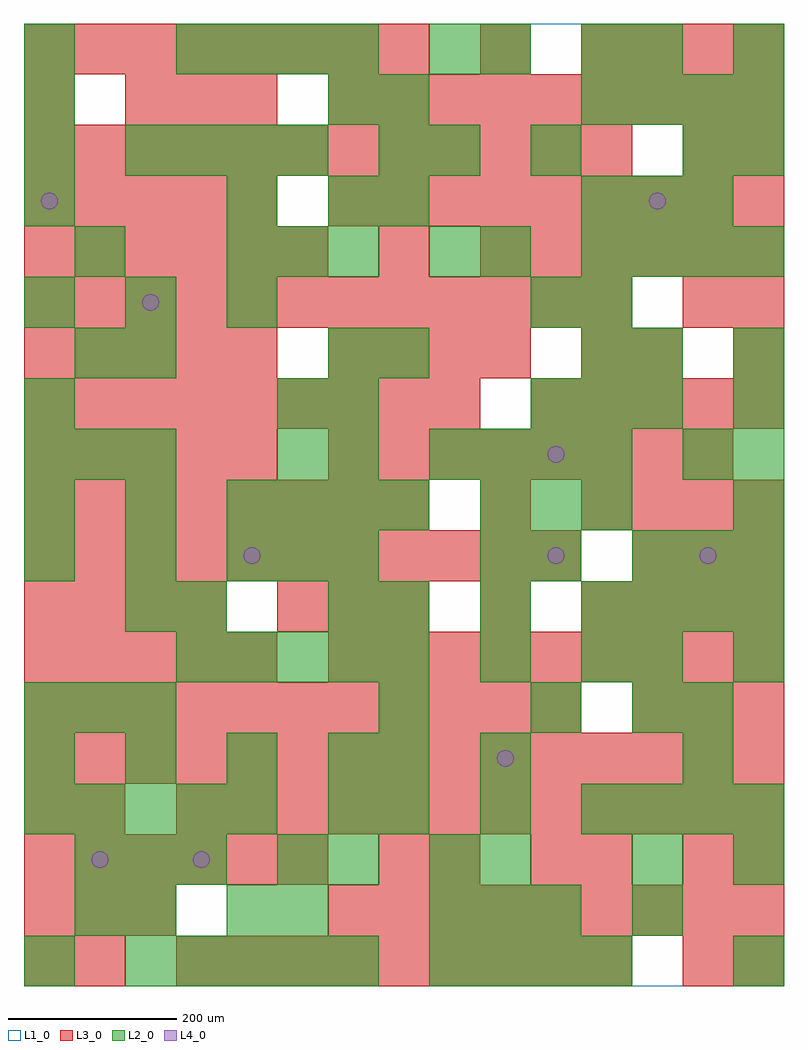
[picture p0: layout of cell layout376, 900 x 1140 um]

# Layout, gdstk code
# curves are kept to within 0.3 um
import gdstk
lib = gdstk.Library(unit=1e-6, precision=1e-09)
def R(c, l, rs):  # rectangles x0, y0, x1, y1
    for r in rs: c.add(gdstk.rectangle(r[:2], r[2:], *l))
def A(c, l, x, y, w, h, nx, ny, dx, dy):  # array of equal rectangles
    R(c, l, [(x+i*dx, y+j*dy, x+i*dx+w, y+j*dy+h) for i in range(nx) for j in range(ny)])
def P(c, l, *ps):  # polygons
    for p in ps: c.add(gdstk.Polygon(p, *l))
L1_0 = (1, 0)
L2_0 = (2, 0)
L3_0 = (3, 0)
L4_0 = (4, 0)

layout376 = lib.new_cell('layout376')
R(layout376, L1_0, [(0,0,900,1140)])
A(layout376, L2_0, 120, 0, 60, 60, 5, 1, 60, 0)
A(layout376, L2_0, 480, 0, 60, 60, 4, 2, 60, 600)
A(layout376, L2_0, 480, 60, 60, 60, 3, 1, 60, 0)
A(layout376, L2_0, 60, 120, 60, 60, 3, 1, 60, 0)
A(layout376, L2_0, 540, 120, 60, 60, 1, 4, 0, 120)
A(layout376, L2_0, 0, 180, 60, 60, 5, 1, 60, 0)
A(layout376, L2_0, 420, 180, 60, 60, 3, 2, 120, 240)
A(layout376, L2_0, 720, 180, 60, 60, 3, 2, 60, 240)
A(layout376, L2_0, 0, 240, 60, 60, 4, 1, 120, 0)
A(layout376, L2_0, 0, 300, 60, 60, 3, 2, 60, 300)
A(layout376, L2_0, 180, 360, 60, 60, 5, 1, 60, 0)
A(layout376, L2_0, 720, 360, 60, 60, 1, 3, 0, 360)
A(layout376, L2_0, 0, 480, 60, 60, 3, 2, 120, 60)
A(layout376, L2_0, 720, 480, 60, 60, 3, 1, 60, 0)
A(layout376, L2_0, 300, 540, 60, 60, 3, 1, 60, 0)
A(layout376, L2_0, 540, 540, 60, 60, 3, 1, 60, 0)
A(layout376, L2_0, 840, 540, 60, 60, 1, 4, 0, 60)
A(layout376, L2_0, 360, 600, 60, 60, 1, 3, 0, 60)
A(layout376, L2_0, 600, 660, 60, 60, 3, 1, 60, 0)
A(layout376, L2_0, 0, 780, 60, 60, 3, 1, 120, 0)
A(layout376, L2_0, 240, 840, 60, 60, 3, 1, 60, 0)
A(layout376, L2_0, 480, 840, 60, 60, 1, 3, 0, 120)
A(layout376, L2_0, 660, 840, 60, 60, 4, 2, 60, 180)
A(layout376, L2_0, 0, 900, 60, 60, 1, 4, 0, 60)
A(layout376, L2_0, 420, 900, 60, 60, 1, 3, 0, 60)
A(layout376, L2_0, 660, 900, 60, 60, 3, 1, 60, 0)
A(layout376, L2_0, 120, 960, 60, 60, 4, 1, 60, 0)
A(layout376, L2_0, 180, 1080, 60, 60, 4, 1, 60, 0)
R(layout376, L2_0, [(0,0,60,60), (840,0,900,60), (60,60,120,120), (120,60,180,120), (240,60,300,120), (300,60,360,120), (720,60,780,120), (300,120,360,180), (360,120,420,180), (480,120,540,180), (720,120,780,180), (840,120,900,180), (360,180,420,240), (420,240,480,300), (780,240,840,300), (420,300,480,360), (600,300,660,360), (720,300,780,360), (780,300,840,360), (660,360,720,420), (840,360,900,420), (120,420,180,480), (180,420,240,480), (360,420,420,480), (300,480,360,540), (360,480,420,540), (600,480,660,540), (300,600,360,660), (780,600,840,660), (0,660,60,720), (300,660,360,720), (60,720,120,780), (120,720,180,780), (420,720,480,780), (660,720,720,780), (600,780,660,840), (660,780,720,840), (60,840,120,900), (540,840,600,900), (240,900,300,960), (360,900,420,960), (600,960,660,1020), (780,960,840,1020), (840,960,900,1020), (360,1020,420,1080), (540,1080,600,1140), (660,1080,720,1140), (840,1080,900,1140)])
A(layout376, L3_0, 180, 0, 60, 60, 9, 1, 60, 0)
A(layout376, L3_0, 0, 60, 60, 60, 3, 1, 60, 0)
A(layout376, L3_0, 360, 60, 60, 60, 9, 2, 60, 300)
A(layout376, L3_0, 0, 120, 60, 60, 6, 2, 60, 720)
A(layout376, L3_0, 180, 180, 60, 60, 12, 1, 60, 0)
A(layout376, L3_0, 0, 240, 60, 60, 15, 1, 60, 0)
A(layout376, L3_0, 0, 300, 60, 60, 11, 2, 60, 180)
A(layout376, L3_0, 720, 300, 60, 60, 3, 2, 60, 180)
A(layout376, L3_0, 0, 360, 60, 60, 5, 2, 60, 240)
A(layout376, L3_0, 0, 420, 60, 60, 4, 1, 60, 0)
A(layout376, L3_0, 300, 420, 60, 60, 3, 1, 60, 0)
A(layout376, L3_0, 660, 420, 60, 60, 4, 2, 60, 120)
A(layout376, L3_0, 0, 540, 60, 60, 8, 2, 60, 540)
A(layout376, L3_0, 360, 600, 60, 60, 8, 1, 60, 0)
A(layout376, L3_0, 0, 660, 60, 60, 9, 1, 60, 0)
A(layout376, L3_0, 600, 660, 60, 60, 5, 1, 60, 0)
A(layout376, L3_0, 0, 720, 60, 60, 5, 2, 60, 180)
A(layout376, L3_0, 360, 720, 60, 60, 4, 1, 60, 0)
A(layout376, L3_0, 0, 780, 60, 60, 12, 2, 60, 180)
A(layout376, L3_0, 540, 840, 60, 60, 6, 1, 60, 0)
A(layout376, L3_0, 360, 900, 60, 60, 9, 2, 60, 120)
A(layout376, L3_0, 120, 1020, 60, 60, 3, 1, 60, 0)
A(layout376, L3_0, 660, 1080, 60, 60, 4, 1, 60, 0)
R(layout376, L3_0, [(0,0,60,60), (60,0,120,60), (780,0,840,60), (840,0,900,60), (420,120,480,180), (480,120,540,180), (600,120,660,180), (660,120,720,180), (780,120,840,180), (840,120,900,180), (0,180,60,240), (60,180,120,240), (540,420,600,480), (540,540,600,600), (660,720,720,780), (720,720,780,780), (840,720,900,780), (780,780,840,840), (840,780,900,840), (420,840,480,900), (780,960,840,1020), (840,960,900,1020), (0,1020,60,1080), (540,1080,600,1140)])
P(layout376, L4_0, [(40,930),(39.239,933.827),(37.071,937.071),(33.827,939.239),(30,940),(26.173,939.239),(22.929,937.071),(20.761,933.827),(20,930),(20.761,926.173),(22.929,922.929),(26.173,920.761),(30,920),(33.827,920.761),(37.071,922.929),(39.239,926.173)],
  [(100,150),(99.239,153.827),(97.071,157.071),(93.827,159.239),(90,160),(86.173,159.239),(82.929,157.071),(80.761,153.827),(80,150),(80.761,146.173),(82.929,142.929),(86.173,140.761),(90,140),(93.827,140.761),(97.071,142.929),(99.239,146.173)],
  [(160,810),(159.239,813.827),(157.071,817.071),(153.827,819.239),(150,820),(146.173,819.239),(142.929,817.071),(140.761,813.827),(140,810),(140.761,806.173),(142.929,802.929),(146.173,800.761),(150,800),(153.827,800.761),(157.071,802.929),(159.239,806.173)],
  [(220,150),(219.239,153.827),(217.071,157.071),(213.827,159.239),(210,160),(206.173,159.239),(202.929,157.071),(200.761,153.827),(200,150),(200.761,146.173),(202.929,142.929),(206.173,140.761),(210,140),(213.827,140.761),(217.071,142.929),(219.239,146.173)],
  [(280,510),(279.239,513.827),(277.071,517.071),(273.827,519.239),(270,520),(266.173,519.239),(262.929,517.071),(260.761,513.827),(260,510),(260.761,506.173),(262.929,502.929),(266.173,500.761),(270,500),(273.827,500.761),(277.071,502.929),(279.239,506.173)],
  [(580,270),(579.239,273.827),(577.071,277.071),(573.827,279.239),(570,280),(566.173,279.239),(562.929,277.071),(560.761,273.827),(560,270),(560.761,266.173),(562.929,262.929),(566.173,260.761),(570,260),(573.827,260.761),(577.071,262.929),(579.239,266.173)],
  [(640,510),(639.239,513.827),(637.071,517.071),(633.827,519.239),(630,520),(626.173,519.239),(622.929,517.071),(620.761,513.827),(620,510),(620.761,506.173),(622.929,502.929),(626.173,500.761),(630,500),(633.827,500.761),(637.071,502.929),(639.239,506.173)],
  [(640,630),(639.239,633.827),(637.071,637.071),(633.827,639.239),(630,640),(626.173,639.239),(622.929,637.071),(620.761,633.827),(620,630),(620.761,626.173),(622.929,622.929),(626.173,620.761),(630,620),(633.827,620.761),(637.071,622.929),(639.239,626.173)],
  [(760,930),(759.239,933.827),(757.071,937.071),(753.827,939.239),(750,940),(746.173,939.239),(742.929,937.071),(740.761,933.827),(740,930),(740.761,926.173),(742.929,922.929),(746.173,920.761),(750,920),(753.827,920.761),(757.071,922.929),(759.239,926.173)],
  [(820,510),(819.239,513.827),(817.071,517.071),(813.827,519.239),(810,520),(806.173,519.239),(802.929,517.071),(800.761,513.827),(800,510),(800.761,506.173),(802.929,502.929),(806.173,500.761),(810,500),(813.827,500.761),(817.071,502.929),(819.239,506.173)])

lib.write_gds('layout376.gds')
